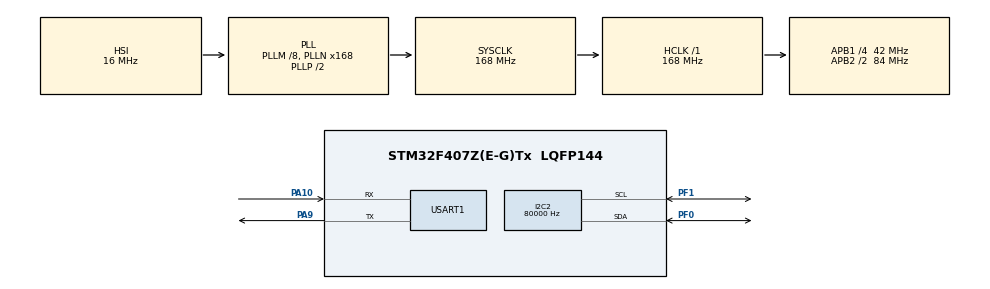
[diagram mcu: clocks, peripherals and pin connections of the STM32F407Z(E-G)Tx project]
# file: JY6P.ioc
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Dma.I2C2_RX.0.Direction=DMA_PERIPH_TO_MEMORY
Dma.I2C2_RX.0.FIFOMode=DMA_FIFOMODE_DISABLE
Dma.I2C2_RX.0.Instance=DMA1_Stream2
Dma.I2C2_RX.0.MemDataAlignment=DMA_MDATAALIGN_BYTE
Dma.I2C2_RX.0.MemInc=DMA_MINC_ENABLE
Dma.I2C2_RX.0.Mode=DMA_NORMAL
Dma.I2C2_RX.0.PeriphDataAlignment=DMA_PDATAALIGN_BYTE
Dma.I2C2_RX.0.PeriphInc=DMA_PINC_DISABLE
Dma.I2C2_RX.0.Priority=DMA_PRIORITY_LOW
Dma.I2C2_TX.1.Direction=DMA_MEMORY_TO_PERIPH
Dma.I2C2_TX.1.FIFOMode=DMA_FIFOMODE_DISABLE
Dma.I2C2_TX.1.Instance=DMA1_Stream7
Dma.I2C2_TX.1.MemDataAlignment=DMA_MDATAALIGN_BYTE
Dma.I2C2_TX.1.MemInc=DMA_MINC_ENABLE
Dma.I2C2_TX.1.Mode=DMA_NORMAL
Dma.I2C2_TX.1.PeriphDataAlignment=DMA_PDATAALIGN_BYTE
Dma.I2C2_TX.1.PeriphInc=DMA_PINC_DISABLE
Dma.I2C2_TX.1.Priority=DMA_PRIORITY_LOW
Dma.Request0=I2C2_RX
Dma.Request1=I2C2_TX
Dma.Request2=USART1_RX
Dma.Request3=USART1_TX
Dma.USART1_RX.2.Direction=DMA_PERIPH_TO_MEMORY
Dma.USART1_RX.2.FIFOMode=DMA_FIFOMODE_DISABLE
Dma.USART1_RX.2.Instance=DMA2_Stream2
Dma.USART1_RX.2.MemDataAlignment=DMA_MDATAALIGN_BYTE
Dma.USART1_RX.2.MemInc=DMA_MINC_ENABLE
Dma.USART1_RX.2.Mode=DMA_NORMAL
Dma.USART1_RX.2.PeriphDataAlignment=DMA_PDATAALIGN_BYTE
Dma.USART1_RX.2.PeriphInc=DMA_PINC_DISABLE
Dma.USART1_RX.2.Priority=DMA_PRIORITY_LOW
Dma.USART1_TX.3.Direction=DMA_MEMORY_TO_PERIPH
Dma.USART1_TX.3.FIFOMode=DMA_FIFOMODE_DISABLE
Dma.USART1_TX.3.Instance=DMA2_Stream7
Dma.USART1_TX.3.MemDataAlignment=DMA_MDATAALIGN_BYTE
Dma.USART1_TX.3.MemInc=DMA_MINC_ENABLE
Dma.USART1_TX.3.Mode=DMA_NORMAL
Dma.USART1_TX.3.PeriphDataAlignment=DMA_PDATAALIGN_BYTE
Dma.USART1_TX.3.PeriphInc=DMA_PINC_DISABLE
Dma.USART1_TX.3.Priority=DMA_PRIORITY_LOW
I2C2.ClockSpeed=80000
Mcu.Family=STM32F4
Mcu.Name=STM32F407Z(E-G)Tx
Mcu.Package=LQFP144
NVIC.DMA1_Stream2_IRQn=true\:4\:0\:true\:false\:true\:false\:true\:true
NVIC.DMA1_Stream7_IRQn=true\:4\:0\:true\:false\:true\:false\:true\:true
NVIC.DMA2_Stream2_IRQn=true\:5\:0\:true\:false\:true\:false\:true\:true
NVIC.DMA2_Stream7_IRQn=true\:5\:0\:true\:false\:true\:false\:true\:true
NVIC.I2C2_ER_IRQn=true\:4\:0\:true\:false\:true\:true\:true\:true
NVIC.I2C2_EV_IRQn=true\:4\:0\:true\:false\:true\:true\:true\:true
NVIC.PriorityGroup=NVIC_PRIORITYGROUP_4
NVIC.USART1_IRQn=true\:5\:0\:true\:false\:true\:true\:true\:true
PA10.Mode=Asynchronous
PA10.Signal=USART1_RX
PA13.Mode=Serial_Wire
PA13.Signal=SYS_JTMS-SWDIO
PA14.Mode=Serial_Wire
PA14.Signal=SYS_JTCK-SWCLK
PA9.Mode=Asynchronous
PA9.Signal=USART1_TX
PF0.Mode=I2C
PF0.Signal=I2C2_SDA
PF1.Mode=I2C
PF1.Signal=I2C2_SCL
ProjectManager.HeapSize=0x200
ProjectManager.StackSize=0x400
ProjectManager.TargetToolchain=CMake
RCC.48MHZClocksFreq_Value=84000000
RCC.AHBFreq_Value=168000000
RCC.APB1CLKDivider=RCC_HCLK_DIV4
RCC.APB1Freq_Value=42000000
RCC.APB1TimFreq_Value=84000000
RCC.APB2CLKDivider=RCC_HCLK_DIV2
RCC.APB2Freq_Value=84000000
RCC.APB2TimFreq_Value=168000000
RCC.CortexFreq_Value=168000000
RCC.HCLKFreq_Value=168000000
RCC.HSE_VALUE=25000000
RCC.HSI_VALUE=16000000
RCC.LSE_VALUE=32768
RCC.PLLM=8
RCC.PLLN=168
RCC.SYSCLKFreq_VALUE=168000000
RCC.SYSCLKSource=RCC_SYSCLKSOURCE_PLLCLK
RCC.VCOOutputFreq_Value=336000000
USART1.VirtualMode=VM_ASYNC
board=custom

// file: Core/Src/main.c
/* USER CODE BEGIN Header */
/**
  ******************************************************************************
  * @file           : main.c
  * @brief          : Main program body
  ******************************************************************************
  * @attention
  *
  * Copyright (c) 2026 STMicroelectronics.
  * All rights reserved.
  *
  * This software is licensed under terms that can be found in the LICENSE file
  * in the root directory of this software component.
  * If no LICENSE file comes with this software, it is provided AS-IS.
  *
  ******************************************************************************
  */
/* USER CODE END Header */
#include "main.h"
#include "dma.h"
#include "i2c.h"
#include "stm32f4xx_hal.h"
#include "usart.h"
#include "gpio.h"

/* USER CODE BEGIN Includes */
#include <stdio.h>
#include "app.h"
/* USER CODE END Includes */

/* USER CODE BEGIN PTD */
/* ======================== 应用状态机工作逻辑 ========================
 * 现在有两个独立状态机，每次 App_Process 都各推进一步：
 *
 * 采样：START_READ -> WAIT_READ -> 保存最新结果 -> START_READ（持续循环）
 * 输出：PRINT_IDLE -> 收到打印请求 -> FORMAT_DATA/I2C_ERROR
 *                 -> START_TX -> WAIT_TX -> PRINT_IDLE
 * 串口故障：START_TX/WAIT_TX -> UART_RECOVER -> PRINT_IDLE
 *
 * 打印周期在 main 的 while 循环中控制，不再是状态机中的等待状态。
 * 采样不会因串口发送或打印间隔暂停；实际读取速度受 IIC 总线限制。
 * 连续读取并不保证传感器每次都产生新测量，仍取决于其内部刷新率。
 * IIC 驱动还有自己的两段读取状态机，具体流转见 jy61p.c 文件顶部。
 */
typedef enum
{
  APP_START_READ,    /* 申请一轮陀螺仪采样 */
  APP_WAIT_READ      /* 等待两段 IIC DMA 完成，取走结果后立即继续采样 */
} App_SampleState;

typedef enum
{
  APP_PRINT_IDLE,    /* 没有待发送文本；仅等待主循环的打印请求 */
  APP_FORMAT_DATA,   /* 将本次打印的数据快照转换为原有文本 */
  APP_START_TX,      /* 启动 USART1 DMA，将这一行发往电脑 */
  APP_WAIT_TX,       /* 等待串口真正发送结束，期间保持缓冲区不变 */
  APP_I2C_ERROR,     /* 故障状态：格式化原来的 I2C error 文本 */
  APP_UART_RECOVER  /* 故障状态：停止异常串口发送并恢复可用状态 */
} App_PrintState;
/* USER CODE END PTD */

/* USER CODE BEGIN PD */
#define APP_STARTUP_DELAY_MS  1500U /* 沿用原来的上电等待时间 */
#define APP_PRINT_PERIOD_MS   1000U /* 主循环每 1000 ms 请求一次串口打印 */
#define APP_UART_TIMEOUT_MS   100U  /* 沿用原来串口发送的超时限制 */
/* USER CODE END PD */

/* USER CODE BEGIN PV */
static App_SampleState sample_state = APP_START_READ;
static App_PrintState print_state = APP_PRINT_IDLE;

/* 最新测量数据供 PID 等主循环任务使用，不必等串口发送完成。
 * 只有两段 IIC 都成功才更新 app_data；失败时保留数值但置 valid=0，
 * 避免 PID 把旧数据当作当前有效测量。采样时间通过 getter 一起返回。
 */
static JY61P_Data app_data;
static HAL_StatusTypeDef app_i2c_status;
static uint32_t app_i2c_error;
static uint32_t app_data_tick;
static uint8_t app_data_valid;
static uint8_t app_has_sample_result;

/* 打印使用独立快照，采样可以在 FORMAT_DATA/WAIT_TX 期间继续更新。
 * 这里同时快照状态、错误码和数据，避免一条文本混用不同轮的结果。
 */
static JY61P_Data print_data;
static HAL_StatusTypeDef print_i2c_status;
static uint32_t print_i2c_error;
static uint8_t print_requested;

/* DMA 发送启动后函数会立即返回，因此这一行不能放在循环内的临时数组。
 * 仅 FORMAT_DATA/I2C_ERROR 状态允许写它；WAIT_TX 期间绝不修改。
 */
static char uart_line[192];
static uint16_t uart_line_length;
static uint32_t uart_start_tick;
static uint32_t last_print_tick;

/* 只有这两个事件标志由 USART/DMA 回调写入，其余状态由主循环维护。 */
static volatile uint8_t uart_tx_complete;
static volatile uint8_t uart_tx_error;
/* USER CODE END PV */

void SystemClock_Config(void);
/* USER CODE BEGIN PFP */
static void App_ProcessSampling(void);
static void App_ProcessPrinting(void);
static void App_PrepareTransmission(int length);
static HAL_StatusTypeDef App_RecoverUart(void);
/* USER CODE END PFP */

int main(void)
{

  /* MCU Configuration--------------------------------------------------------*/

  /* Reset of all peripherals, Initializes the Flash interface and the Systick. */
  HAL_Init();

  /* Configure the system clock */
  SystemClock_Config();

  /* Initialize all configured peripherals */
  MX_GPIO_Init();
  MX_DMA_Init();
  MX_I2C2_Init();
  MX_USART1_UART_Init();
  /* USER CODE BEGIN 2 */
  /* 上电等待保留在主循环进入前；此时不在中断里，SysTick 15 正常计时。 */
  HAL_Delay(APP_STARTUP_DELAY_MS);
  /* 让第一次打印请求立即生效，但必须等首次完整采样结果才生成文本。
   * 无符号减法允许初始化值回绕，也允许系统 tick 在长期运行后回绕。
   */
  last_print_tick = HAL_GetTick() - APP_PRINT_PERIOD_MS;
  /* USER CODE END 2 */

  /* Infinite loop */
  /* USER CODE BEGIN WHILE */
  while (1)
  {
    /* 1. 持续推进采样和串口状态机，两个状态机分别维护自己的状态。
     * PID 等任务可以在这里通过 App_GetLatestData() 使用最新有效数据。
     */
    App_Process();

    /* 2. 只有打印按 1 秒节奏请求，采样和 PID 不在这里等待 1 秒。
     * SysTick 中断更新毫秒计数，主循环读取计数并判断打印时间是否到达。
     * HAL_Delay(1000) 会暂停整个主循环，故不能用于“持续采样”的模式。
     */
    uint32_t now = HAL_GetTick();
    if ((uint32_t)(now - last_print_tick) >= APP_PRINT_PERIOD_MS)
    {
      last_print_tick = now;
      App_RequestPrint();
    }
    /* USER CODE END WHILE */

  }
}

void SystemClock_Config(void)
{
  RCC_OscInitTypeDef RCC_OscInitStruct = {0};
  RCC_ClkInitTypeDef RCC_ClkInitStruct = {0};

  /** Configure the main internal regulator output voltage
  */
  __HAL_RCC_PWR_CLK_ENABLE();
  __HAL_PWR_VOLTAGESCALING_CONFIG(PWR_REGULATOR_VOLTAGE_SCALE1);

  /** Initializes the RCC Oscillators according to the specified parameters
  * in the RCC_OscInitTypeDef structure.
  */
  RCC_OscInitStruct.OscillatorType = RCC_OSCILLATORTYPE_HSI;
  RCC_OscInitStruct.HSIState = RCC_HSI_ON;
  RCC_OscInitStruct.HSICalibrationValue = RCC_HSICALIBRATION_DEFAULT;
  RCC_OscInitStruct.PLL.PLLState = RCC_PLL_ON;
  RCC_OscInitStruct.PLL.PLLSource = RCC_PLLSOURCE_HSI;
  RCC_OscInitStruct.PLL.PLLM = 8;
  RCC_OscInitStruct.PLL.PLLN = 168;
  RCC_OscInitStruct.PLL.PLLP = RCC_PLLP_DIV2;
  RCC_OscInitStruct.PLL.PLLQ = 4;
  if (HAL_RCC_OscConfig(&RCC_OscInitStruct) != HAL_OK)
  {
    Error_Handler();
  }

  /** Initializes the CPU, AHB and APB buses clocks
  */
  RCC_ClkInitStruct.ClockType = RCC_CLOCKTYPE_HCLK|RCC_CLOCKTYPE_SYSCLK
                              |RCC_CLOCKTYPE_PCLK1|RCC_CLOCKTYPE_PCLK2;
  RCC_ClkInitStruct.SYSCLKSource = RCC_SYSCLKSOURCE_PLLCLK;
  RCC_ClkInitStruct.AHBCLKDivider = RCC_SYSCLK_DIV1;
  RCC_ClkInitStruct.APB1CLKDivider = RCC_HCLK_DIV4;
  RCC_ClkInitStruct.APB2CLKDivider = RCC_HCLK_DIV2;

  if (HAL_RCC_ClockConfig(&RCC_ClkInitStruct, FLASH_LATENCY_5) != HAL_OK)
  {
    Error_Handler();
  }
}

/* USER CODE BEGIN 4 */
/* ======================== 正常工作代码 ======================== */

/* 只置请求标志，实际取快照和启动 DMA 交给打印状态机。
 * 发送忙时多个请求合并为一个，稍后打印最新结果，不堆积旧结果。
 */
void App_RequestPrint(void)
{
  print_requested = 1U;
}

uint8_t App_GetLatestData(JY61P_Data *data, uint32_t *sample_tick)
{
  if ((data == NULL) || (app_data_valid == 0U))
  {
    return 0U;
  }
  *data = app_data;
  if (sample_tick != NULL)
  {
    *sample_tick = app_data_tick;
  }
  return 1U;
}

/* 采样和输出分别推进，串口等待不会阻挡下一轮 IIC 读取。 */
void App_Process(void)
{
  App_ProcessSampling();
  App_ProcessPrinting();
}

static void App_ProcessSampling(void)
{
  HAL_StatusTypeDef status;

  /* 下一段 DMA、事件处理和故障恢复都在主循环进行，保留 SysTick 15。 */
  JY61P_Process();

  switch (sample_state)
  {
    case APP_START_READ:
      status = JY61P_StartReadData();
      if ((status == HAL_OK) || (status == HAL_BUSY))
      {
        /* BUSY 表示驱动仍有一轮采样/结果，转入等待并取走该结果。 */
        sample_state = APP_WAIT_READ;
      }
      break;

    case APP_WAIT_READ:
      if (JY61P_GetReadResult(&app_data, &app_i2c_status) != 0U)
      {
        /* 下一轮 StartReadData 会清驱动错误码，因此此处立即保存快照。
         * 失败不会修改 app_data，valid 则反映最近一次采样是否成功。
         */
        app_i2c_error = JY61P_GetError();
        app_has_sample_result = 1U;
        app_data_valid = (app_i2c_status == HAL_OK) ? 1U : 0U;
        if (app_data_valid != 0U)
        {
          app_data_tick = HAL_GetTick();
        }
        /* 没有 1 秒等待：下一次 App_Process 即可申请下一轮采样。 */
        sample_state = APP_START_READ;
      }
      break;

    default:
      break;
  }
}

/* 与原程序一样：格式化失败或超长时跳过本次发送，等待下次打印请求。 */
static void App_PrepareTransmission(int length)
{
  if ((length > 0) && ((size_t)length < sizeof(uart_line)))
  {
    uart_line_length = (uint16_t)length;
    print_state = APP_START_TX;
  }
  else
  {
    print_state = APP_PRINT_IDLE;
  }
}

static void App_ProcessPrinting(void)
{
  HAL_StatusTypeDef status;
  int length;

  switch (print_state)
  {
    case APP_PRINT_IDLE:
      if ((print_requested != 0U) && (app_has_sample_result != 0U))
      {
        /* 只有到达打印时间才复制快照，采样完成本身不会自动触发打印。 */
        print_requested = 0U;
        print_data = app_data;
        print_i2c_status = app_i2c_status;
        print_i2c_error = app_i2c_error;
        print_state = (print_i2c_status == HAL_OK)
                  ? APP_FORMAT_DATA : APP_I2C_ERROR;
      }
      break;

    case APP_FORMAT_DATA:
      /* 字段顺序、单位、小数位数、空格和换行全部保持原样。
       * snprintf/浮点格式化只在主循环执行，不占用中断处理时间。
       */
      length = snprintf(
          uart_line,
          sizeof(uart_line),
          "ACC(g)=%.3f,%.3f,%.3f "
          "GYRO(deg/s)=%.3f,%.3f,%.3f "
          "ANGLE(deg)=%.3f,%.3f,%.3f\r\n",
          (double)print_data.acc[0],
          (double)print_data.acc[1],
          (double)print_data.acc[2],
          (double)print_data.gyro[0],
          (double)print_data.gyro[1],
          (double)print_data.gyro[2],
          (double)print_data.angles.roll,
          (double)print_data.angles.pitch,
          (double)print_data.angles.yaw);
      App_PrepareTransmission(length);
      break;

    case APP_START_TX:
      /* 此前的发送已经结束/清理，本轮才能清标志并启动新的 DMA。
       * HAL_OK 只代表发送启动成功，不能在这里复用 uart_line。
       */
      uart_tx_complete = 0U;
      uart_tx_error = 0U;
      uart_start_tick = HAL_GetTick();
      status = HAL_UART_Transmit_DMA(&huart1, (uint8_t *)uart_line,
                                     uart_line_length);
      print_state = (status == HAL_OK) ? APP_WAIT_TX : APP_UART_RECOVER;
      break;

    case APP_WAIT_TX:
      if (uart_tx_error != 0U)
      {
        /* 故障分支：DMA/串口错误，不把这次发送认作正常完成。 */
        print_state = APP_UART_RECOVER;
      }
      else if (uart_tx_complete != 0U)
      {
        /* 普通 DMA 模式下，HAL 在 USART TC 中断确认最后一个字节
         * 真正发完后才调用 TxCpltCallback，此时允许复用发送缓冲区。
         */
        print_state = APP_PRINT_IDLE;
      }
      else if ((uint32_t)(HAL_GetTick() - uart_start_tick)
               >= APP_UART_TIMEOUT_MS)
      {
        print_state = APP_UART_RECOVER;
      }
      break;

    /* ==================== 故障处理状态 ==================== */
    case APP_I2C_ERROR:
      /* IIC 驱动在恢复外设前保存了错误码，输出仍使用原来的格式。 */
      length = snprintf(uart_line, sizeof(uart_line),
                        "I2C error: status=%u err=0x%08lX\r\n",
                        (unsigned int)print_i2c_status,
                        (unsigned long)print_i2c_error);
      App_PrepareTransmission(length);
      break;

    case APP_UART_RECOVER:
      if (App_RecoverUart() == HAL_OK)
      {
        /* 原程序没有输出 UART 故障文本，这里也不新增输出或自动重发。
         * 清理后回到打印空闲状态，采样状态机始终独立运行。
         */
        print_state = APP_PRINT_IDLE;
      }
      break;

    default:
      break;
  }
}

/* 正常发送完成回调：只记录事件，不格式化、不启动下一轮采样。 */
void HAL_UART_TxCpltCallback(UART_HandleTypeDef *huart)
{
  if (huart == &huart1)
  {
    uart_tx_complete = 1U;
  }
}

/* ======================== 故障处理代码 ======================== */

/* 故障回调仍只置标志，停止发送和恢复 DMA 都交给主循环。 */
void HAL_UART_ErrorCallback(UART_HandleTypeDef *huart)
{
  if (huart == &huart1)
  {
    uart_tx_error = 1U;
  }
}

static HAL_StatusTypeDef App_RecoverUart(void)
{
  /* 防止清理过程中旧的完成/故障中断再次更新标志。
   * 只屏蔽 USART1 和它的发送 DMA，SysTick 仍然计时。
   */
  HAL_NVIC_DisableIRQ(USART1_IRQn);
  HAL_NVIC_DisableIRQ(DMA2_Stream7_IRQn);

  /* AbortTransmit 关闭串口发送请求和 TC 中断，并终止活动 DMA。
   * 这个 HAL 函数可能短暂等待 DMA 停止，因此只允许在主循环调用。
   */
  if (HAL_UART_AbortTransmit(&huart1) != HAL_OK)
  {
    return HAL_BUSY;
  }
  if (HAL_DMA_GetState(huart1.hdmatx) == HAL_DMA_STATE_BUSY)
  {
    if (HAL_DMA_Abort(huart1.hdmatx) != HAL_OK)
    {
      return HAL_BUSY;
    }
  }
  __HAL_DMA_DISABLE(huart1.hdmatx);
  if ((huart1.hdmatx->Instance->CR & DMA_SxCR_EN) != 0U)
  {
    /* 硬件尚未停止时继续保留发送缓冲区，下次主循环重试。 */
    return HAL_BUSY;
  }

  /* 正常终止后 DMA 已 READY；若处于错误/超时状态则重新初始化。
   * Init 仍使用 CubeMX 原来的 DMA 参数，不改变优先级或串口波特率。
   */
  if (HAL_DMA_GetState(huart1.hdmatx) != HAL_DMA_STATE_READY)
  {
    if ((HAL_DMA_DeInit(huart1.hdmatx) != HAL_OK)
        || (HAL_DMA_Init(huart1.hdmatx) != HAL_OK))
    {
      return HAL_ERROR;
    }
  }
  HAL_NVIC_ClearPendingIRQ(USART1_IRQn);
  HAL_NVIC_ClearPendingIRQ(DMA2_Stream7_IRQn);
  uart_tx_complete = 0U;
  uart_tx_error = 0U;
  HAL_NVIC_EnableIRQ(USART1_IRQn);
  HAL_NVIC_EnableIRQ(DMA2_Stream7_IRQn);
  return HAL_OK;
}
/* USER CODE END 4 */

void Error_Handler(void)
{
  __disable_irq();
  while (1)
  {
  }
}
